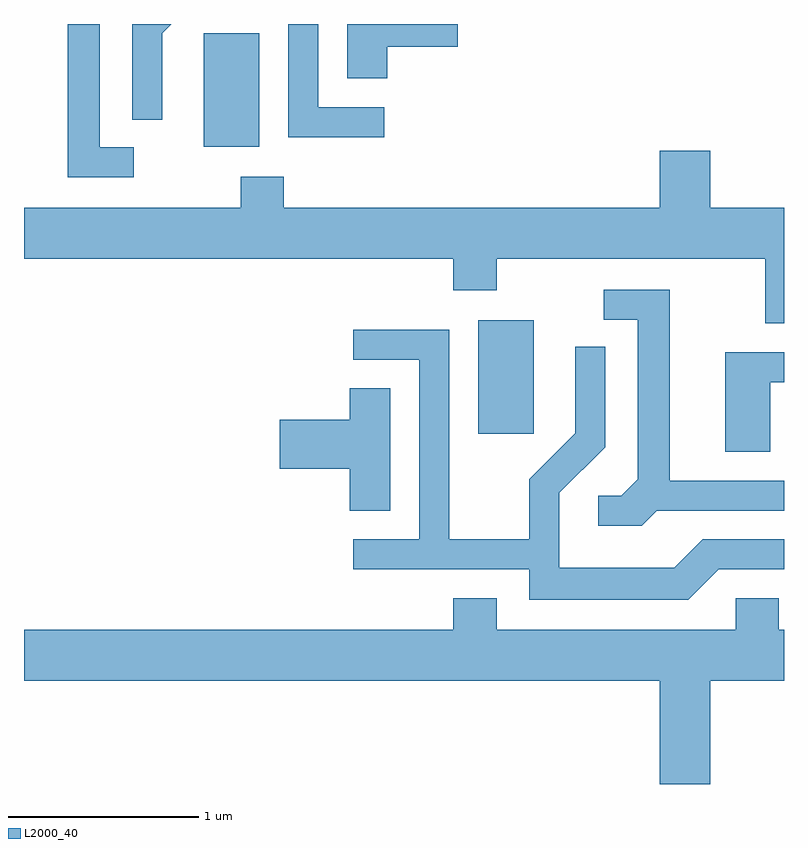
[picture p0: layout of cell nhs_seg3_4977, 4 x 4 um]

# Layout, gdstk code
import gdstk
lib = gdstk.Library(unit=1e-6, precision=1e-09)
def R(c, l, rs):  # rectangles x0, y0, x1, y1
    for r in rs: c.add(gdstk.rectangle(r[:2], r[2:], *l))
def P(c, l, *ps):  # polygons
    for p in ps: c.add(gdstk.Polygon(p, *l))
L2000_40 = (2000, 40)

nhs_seg3_4977 = lib.new_cell('nhs_seg3_4977')
R(nhs_seg3_4977, L2000_40, [(334.001,1151.736,334.294,1152.334), (332.556,1153.246,332.849,1153.844)])
P(nhs_seg3_4977, L2000_40, [(333.524,1153.771),(333.894,1153.771),(333.894,1153.892),(333.311,1153.892),(333.311,1153.606),(333.524,1153.606)],
  [(332.339,1153.844),(332.387,1153.892),(332.181,1153.892),(332.181,1153.388),(332.339,1153.388)],
  [(333.508,1153.454),(333.159,1153.454),(333.159,1153.892),(333.001,1153.892),(333.001,1153.296),(333.508,1153.296)],
  [(332.188,1153.244),(332.009,1153.244),(332.009,1153.892),(331.841,1153.892),(331.841,1153.086),(332.188,1153.086)],
  [(335.611,1152.924),(335.224,1152.924),(335.224,1153.224),(334.956,1153.224),(334.956,1152.924),(332.979,1152.924),(332.979,1153.089),(332.751,1153.089),(332.751,1152.924),(331.611,1152.924),(331.611,1152.656),(333.871,1152.656),(333.871,1152.491),(334.099,1152.491),(334.099,1152.656),(335.511,1152.656),(335.511,1152.316),(335.611,1152.316)],
  [(334.942,1151.331),(335.611,1151.331),(335.611,1151.489),(335.009,1151.489),(335.009,1152.494),(334.663,1152.494),(334.663,1152.336),(334.841,1152.336),(334.841,1151.497),(334.754,1151.409),(334.633,1151.409),(334.633,1151.251),(334.862,1151.251)],
  [(335.267,1151.021),(335.611,1151.021),(335.611,1151.179),(335.184,1151.179),(335.034,1151.029),(334.429,1151.029),(334.429,1151.424),(334.669,1151.664),(334.669,1152.193),(334.511,1152.193),(334.511,1151.737),(334.271,1151.497),(334.271,1151.179),(333.849,1151.179),(333.849,1152.284),(333.343,1152.284),(333.343,1152.126),(333.691,1152.126),(333.691,1151.179),(333.343,1151.179),(333.343,1151.021),(334.271,1151.021),(334.271,1150.861),(335.107,1150.861)],
  [(335.539,1152.006),(335.611,1152.006),(335.611,1152.164),(335.301,1152.164),(335.301,1151.641),(335.539,1151.641)],
  [(333.539,1151.974),(333.326,1151.974),(333.326,1151.809),(332.956,1151.809),(332.956,1151.551),(333.326,1151.551),(333.326,1151.331),(333.539,1151.331)],
  [(335.224,1150.436),(335.611,1150.436),(335.611,1150.704),(335.584,1150.704),(335.584,1150.869),(335.356,1150.869),(335.356,1150.704),(334.099,1150.704),(334.099,1150.869),(333.871,1150.869),(333.871,1150.704),(331.611,1150.704),(331.611,1150.436),(334.956,1150.436),(334.956,1149.892),(335.224,1149.892)])

lib.write_gds('nhs_seg3_4977.gds')
